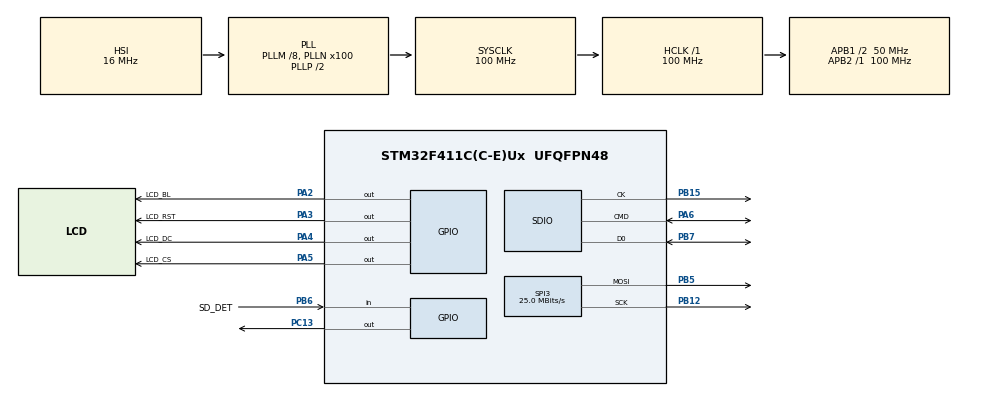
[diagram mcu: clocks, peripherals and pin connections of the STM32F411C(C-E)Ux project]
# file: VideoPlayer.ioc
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Dma.Request0=SPI3_TX
Dma.Request1=SDIO
Dma.SDIO.1.Direction=DMA_PERIPH_TO_MEMORY
Dma.SDIO.1.FIFOMode=DMA_FIFOMODE_ENABLE
Dma.SDIO.1.FIFOThreshold=DMA_FIFO_THRESHOLD_FULL
Dma.SDIO.1.Instance=DMA2_Stream3
Dma.SDIO.1.MemBurst=DMA_MBURST_INC4
Dma.SDIO.1.MemDataAlignment=DMA_MDATAALIGN_WORD
Dma.SDIO.1.MemInc=DMA_MINC_ENABLE
Dma.SDIO.1.Mode=DMA_PFCTRL
Dma.SDIO.1.PeriphBurst=DMA_PBURST_INC4
Dma.SDIO.1.PeriphDataAlignment=DMA_PDATAALIGN_WORD
Dma.SDIO.1.PeriphInc=DMA_PINC_DISABLE
Dma.SDIO.1.Priority=DMA_PRIORITY_LOW
Dma.SPI3_TX.0.Direction=DMA_MEMORY_TO_PERIPH
Dma.SPI3_TX.0.FIFOMode=DMA_FIFOMODE_DISABLE
Dma.SPI3_TX.0.Instance=DMA1_Stream5
Dma.SPI3_TX.0.MemDataAlignment=DMA_MDATAALIGN_BYTE
Dma.SPI3_TX.0.MemInc=DMA_MINC_ENABLE
Dma.SPI3_TX.0.Mode=DMA_NORMAL
Dma.SPI3_TX.0.PeriphDataAlignment=DMA_PDATAALIGN_BYTE
Dma.SPI3_TX.0.PeriphInc=DMA_PINC_DISABLE
Dma.SPI3_TX.0.Priority=DMA_PRIORITY_LOW
FATFS.BSP.number=1
FATFS._FS_REENTRANT=1
FATFS._USE_LFN=3
FATFS0.BSP.STBoard=false
FATFS0.BSP.api=Unknown
FATFS0.BSP.instance=PB6
FATFS0.BSP.ip=GPIO
FATFS0.BSP.mode=Input
FATFS0.BSP.name=Detect_SDIO
FATFS0.BSP.solution=PB6
FREERTOS.Queues01=writableBufferQueue,2,uint32_t,0,Static,writableBufferQueueBuffer,writableBufferQueueControlBlock;printableBufferQueue,2,uint32_t,0,Static,printableBufferQueueBuffer,printableBufferQueueControlBlock
FREERTOS.Tasks01=VideoPlayerTask,0,512,StartVideoPlayerTask,Default,&video_player_task_config,Dynamic,NULL,NULL;VideoReaderTask,1,1024,StartVideoReaderTask,Default,&video_reader_task_config,Dynamic,NULL,NULL
FREERTOS.configCHECK_FOR_STACK_OVERFLOW=2
FREERTOS.configGENERATE_RUN_TIME_STATS=1
FREERTOS.configTOTAL_HEAP_SIZE=24576
FREERTOS.configUSE_MALLOC_FAILED_HOOK=1
FREERTOS.configUSE_STATS_FORMATTING_FUNCTIONS=1
FREERTOS.configUSE_TRACE_FACILITY=1
Mcu.Family=STM32F4
Mcu.Name=STM32F411C(C-E)Ux
Mcu.Package=UFQFPN48
NVIC.DMA1_Stream5_IRQn=true\:5\:0\:false\:false\:true\:true\:false\:true\:true
NVIC.DMA2_Stream3_IRQn=true\:5\:0\:false\:false\:true\:true\:false\:true\:true
NVIC.PriorityGroup=NVIC_PRIORITYGROUP_4
NVIC.TIM5_IRQn=true\:15\:0\:false\:false\:true\:false\:false\:true\:true
NVIC.TimeBase=TIM5_IRQn
NVIC.TimeBaseIP=TIM5
PA2.GPIO_Label=LCD_BL
PA2.PinState=GPIO_PIN_SET
PA2.Signal=GPIO_Output
PA3.GPIO_Label=LCD_RST
PA3.Signal=GPIO_Output
PA4.GPIO_Label=LCD_DC
PA4.Signal=GPIO_Output
PA5.GPIO_Label=LCD_CS
PA5.PinState=GPIO_PIN_SET
PA5.Signal=GPIO_Output
PA6.Mode=SD_1_bit
PA6.Signal=SDIO_CMD
PB12.Mode=TX_Only_Simplex_Unidirect_Master
PB12.Signal=SPI3_SCK
PB15.Mode=SD_1_bit
PB15.Signal=SDIO_CK
PB5.Mode=TX_Only_Simplex_Unidirect_Master
PB5.Signal=SPI3_MOSI
PB6.GPIO_Label=SD_DET
PB6.Signal=GPIO_Input
PB7.Mode=SD_1_bit
PB7.Signal=SDIO_D0
PC13-ANTI_TAMP.Signal=GPIO_Output
ProjectManager.HeapSize=0x200
ProjectManager.StackSize=0x400
ProjectManager.TargetToolchain=CMake
RCC.48MHZClocksFreq_Value=40000000
RCC.AHBFreq_Value=100000000
RCC.APB1CLKDivider=RCC_HCLK_DIV2
RCC.APB1Freq_Value=50000000
RCC.APB1TimFreq_Value=100000000
RCC.APB2Freq_Value=100000000
RCC.APB2TimFreq_Value=100000000
RCC.CortexFreq_Value=100000000
RCC.HCLKFreq_Value=100000000
RCC.HSE_VALUE=25000000
RCC.HSI_VALUE=16000000
RCC.LSE_VALUE=32768
RCC.PLLM=8
RCC.PLLN=100
RCC.PLLQ=5
RCC.SYSCLKFreq_VALUE=100000000
RCC.SYSCLKSource=RCC_SYSCLKSOURCE_PLLCLK
RCC.VCOOutputFreq_Value=200000000
SPI3.CalculateBaudRate=25.0 MBits/s
SPI3.Direction=SPI_DIRECTION_2LINES
SPI3.Mode=SPI_MODE_MASTER
SPI3.VirtualType=VM_MASTER
VP_FATFS_VS_SDIO.Mode=SDIO
VP_FREERTOS_VS_CMSIS_V1.Mode=CMSIS_V1
VP_SYS_VS_tim5.Mode=TIM5
board=custom

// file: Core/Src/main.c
/* USER CODE BEGIN Header */
/**
 ******************************************************************************
 * @file           : main.c
 * @brief          : Main program body
 ******************************************************************************
 * @attention
 *
 * Copyright (c) 2026 STMicroelectronics.
 * All rights reserved.
 *
 * This software is licensed under terms that can be found in the LICENSE file
 * in the root directory of this software component.
 * If no LICENSE file comes with this software, it is provided AS-IS.
 *
 ******************************************************************************
 */
/* USER CODE END Header */
#include "main.h"
#include "cmsis_os.h"
#include "fatfs.h"

/* USER CODE BEGIN Includes */
#include "stm32f4xx_hal.h"

#include "task/video_player_task.h"
#include "task/video_reader_task.h"
#include "video/video_player.h"
#include "video/video_reader.h"

/* USER CODE END Includes */

SD_HandleTypeDef hsd;
DMA_HandleTypeDef hdma_sdio;

SPI_HandleTypeDef hspi3;
DMA_HandleTypeDef hdma_spi3_tx;

osThreadId VideoPlayerTaskHandle;
osThreadId VideoReaderTaskHandle;
osMessageQId writableBufferQueueHandle;
uint8_t writableBufferQueueBuffer[ 2 * sizeof( uint32_t ) ];
osStaticMessageQDef_t writableBufferQueueControlBlock;
osMessageQId printableBufferQueueHandle;
uint8_t printableBufferQueueBuffer[ 2 * sizeof( uint32_t ) ];
osStaticMessageQDef_t printableBufferQueueControlBlock;
/* USER CODE BEGIN PV */

video_reader_context_t video_reader_context;
video_player_context_t video_player_context;
video_shared_context_t video_shared_context;
video_reader_task_config_t video_reader_task_config;
video_player_task_config_t video_player_task_config;
static video_buffer_t video_buffer_0[VIDEO_CONTEXT_BUFFER_SIZE];
static video_buffer_t video_buffer_1[VIDEO_CONTEXT_BUFFER_SIZE];
static const TCHAR *video_file_path = "0:/output.rgb565";
/* USER CODE END PV */

void SystemClock_Config(void);
static void MX_GPIO_Init(void);
static void MX_DMA_Init(void);
static void MX_SPI3_Init(void);
static void MX_SDIO_SD_Init(void);
void StartVideoPlayerTask(void const * argument);
void StartVideoReaderTask(void const * argument);

/* USER CODE BEGIN PFP */
void vApplicationStackOverflowHook(xTaskHandle xTask, signed char *pcTaskName) {
    volatile int x = 1;
    while (x)
        ;
}
/* USER CODE END PFP */

int main(void)
{

  /* MCU Configuration--------------------------------------------------------*/

  /* Reset of all peripherals, Initializes the Flash interface and the Systick. */
  HAL_Init();

  /* Configure the system clock */
  SystemClock_Config();

  /* Initialize all configured peripherals */
  MX_GPIO_Init();
  MX_DMA_Init();
  MX_SPI3_Init();
  MX_FATFS_Init();
  MX_SDIO_SD_Init();

  /* Create the queue(s) */
  /* definition and creation of writableBufferQueue */
  osMessageQStaticDef(writableBufferQueue, 2, uint32_t, writableBufferQueueBuffer, &writableBufferQueueControlBlock);
  writableBufferQueueHandle = osMessageCreate(osMessageQ(writableBufferQueue), NULL);

  /* definition and creation of printableBufferQueue */
  osMessageQStaticDef(printableBufferQueue, 2, uint32_t, printableBufferQueueBuffer, &printableBufferQueueControlBlock);
  printableBufferQueueHandle = osMessageCreate(osMessageQ(printableBufferQueue), NULL);

  /* USER CODE BEGIN RTOS_QUEUES */
    /* add queues, ... */
    video_player_task_config.player_context = &video_player_context;
    video_player_task_config.shared_context = &video_shared_context;
    video_player_task_config.hspi = &hspi3;
    video_player_task_config.GPIO_Port_CS = LCD_CS_GPIO_Port;
    video_player_task_config.GPIO_Port_DC = LCD_DC_GPIO_Port;
    video_player_task_config.GPIO_Port_RST = LCD_RST_GPIO_Port;
    video_player_task_config.GPIO_Pin_CS = LCD_CS_Pin;
    video_player_task_config.GPIO_Pin_DC = LCD_DC_Pin;
    video_player_task_config.GPIO_Pin_RST = LCD_RST_Pin;
    video_player_task_config.screen_width = 240;
    video_player_task_config.screen_height = 240;
    video_player_task_config.dma_status = ST7789_DMA_ENABLE;
    video_player_task_config.target_frame_rate = 30;
    video_player_task_config.writableBufferQueueHandle =
        writableBufferQueueHandle;
    video_player_task_config.printableBufferQueueHandle =
        printableBufferQueueHandle;

    video_reader_task_config.reader_context = &video_reader_context;
    video_reader_task_config.shared_context = &video_shared_context;
    video_reader_task_config.sd_fatfs = &SDFatFS;
    video_reader_task_config.hsd = &hsd;
    video_reader_task_config.frame_bytes = 240U * 240U * sizeof(video_buffer_t);
    video_reader_task_config.sd_path = SDPath;
    video_reader_task_config.file_path = video_file_path;
    video_reader_task_config.writableBufferQueueHandle =
        writableBufferQueueHandle;
    video_reader_task_config.printableBufferQueueHandle =
        printableBufferQueueHandle;

    {
        video_buffer_t *initial_buffer = video_buffer_0;
        xQueueSend(writableBufferQueueHandle, &initial_buffer, 0);
        initial_buffer = video_buffer_1;
        xQueueSend(writableBufferQueueHandle, &initial_buffer, 0);
    }
  /* USER CODE END RTOS_QUEUES */

  /* Create the thread(s) */
  /* definition and creation of VideoPlayerTask */
  osThreadDef(VideoPlayerTask, StartVideoPlayerTask, osPriorityNormal, 0, 512);
  VideoPlayerTaskHandle = osThreadCreate(osThread(VideoPlayerTask), (void*) &video_player_task_config);

  /* definition and creation of VideoReaderTask */
  osThreadDef(VideoReaderTask, StartVideoReaderTask, osPriorityAboveNormal, 0, 1024);
  VideoReaderTaskHandle = osThreadCreate(osThread(VideoReaderTask), (void*) &video_reader_task_config);

  /* USER CODE BEGIN RTOS_THREADS */
    /* add threads, ... */
    video_player_task_config.VideoPlayerTaskHandle = VideoPlayerTaskHandle;

  /* USER CODE END RTOS_THREADS */

  /* Start scheduler */
  osKernelStart();

  /* We should never get here as control is now taken by the scheduler */

  /* Infinite loop */
    while (1) {

    }
}

void SystemClock_Config(void)
{
  RCC_OscInitTypeDef RCC_OscInitStruct = {0};
  RCC_ClkInitTypeDef RCC_ClkInitStruct = {0};

  /** Configure the main internal regulator output voltage
  */
  __HAL_RCC_PWR_CLK_ENABLE();
  __HAL_PWR_VOLTAGESCALING_CONFIG(PWR_REGULATOR_VOLTAGE_SCALE1);

  /** Initializes the RCC Oscillators according to the specified parameters
  * in the RCC_OscInitTypeDef structure.
  */
  RCC_OscInitStruct.OscillatorType = RCC_OSCILLATORTYPE_HSI;
  RCC_OscInitStruct.HSIState = RCC_HSI_ON;
  RCC_OscInitStruct.HSICalibrationValue = RCC_HSICALIBRATION_DEFAULT;
  RCC_OscInitStruct.PLL.PLLState = RCC_PLL_ON;
  RCC_OscInitStruct.PLL.PLLSource = RCC_PLLSOURCE_HSI;
  RCC_OscInitStruct.PLL.PLLM = 8;
  RCC_OscInitStruct.PLL.PLLN = 100;
  RCC_OscInitStruct.PLL.PLLP = RCC_PLLP_DIV2;
  RCC_OscInitStruct.PLL.PLLQ = 5;
  if (HAL_RCC_OscConfig(&RCC_OscInitStruct) != HAL_OK)
  {
    Error_Handler();
  }

  /** Initializes the CPU, AHB and APB buses clocks
  */
  RCC_ClkInitStruct.ClockType = RCC_CLOCKTYPE_HCLK|RCC_CLOCKTYPE_SYSCLK
                              |RCC_CLOCKTYPE_PCLK1|RCC_CLOCKTYPE_PCLK2;
  RCC_ClkInitStruct.SYSCLKSource = RCC_SYSCLKSOURCE_PLLCLK;
  RCC_ClkInitStruct.AHBCLKDivider = RCC_SYSCLK_DIV1;
  RCC_ClkInitStruct.APB1CLKDivider = RCC_HCLK_DIV2;
  RCC_ClkInitStruct.APB2CLKDivider = RCC_HCLK_DIV1;

  if (HAL_RCC_ClockConfig(&RCC_ClkInitStruct, FLASH_LATENCY_3) != HAL_OK)
  {
    Error_Handler();
  }
}

static void MX_SDIO_SD_Init(void)
{

  hsd.Instance = SDIO;
  hsd.Init.ClockEdge = SDIO_CLOCK_EDGE_RISING;
  hsd.Init.ClockBypass = SDIO_CLOCK_BYPASS_DISABLE;
  hsd.Init.ClockPowerSave = SDIO_CLOCK_POWER_SAVE_DISABLE;
  hsd.Init.BusWide = SDIO_BUS_WIDE_1B;
  hsd.Init.HardwareFlowControl = SDIO_HARDWARE_FLOW_CONTROL_DISABLE;
  hsd.Init.ClockDiv = 0;

}

static void MX_SPI3_Init(void)
{

  /* SPI3 parameter configuration*/
  hspi3.Instance = SPI3;
  hspi3.Init.Mode = SPI_MODE_MASTER;
  hspi3.Init.Direction = SPI_DIRECTION_2LINES;
  hspi3.Init.DataSize = SPI_DATASIZE_8BIT;
  hspi3.Init.CLKPolarity = SPI_POLARITY_LOW;
  hspi3.Init.CLKPhase = SPI_PHASE_1EDGE;
  hspi3.Init.NSS = SPI_NSS_SOFT;
  hspi3.Init.BaudRatePrescaler = SPI_BAUDRATEPRESCALER_2;
  hspi3.Init.FirstBit = SPI_FIRSTBIT_MSB;
  hspi3.Init.TIMode = SPI_TIMODE_DISABLE;
  hspi3.Init.CRCCalculation = SPI_CRCCALCULATION_DISABLE;
  hspi3.Init.CRCPolynomial = 10;
  if (HAL_SPI_Init(&hspi3) != HAL_OK)
  {
    Error_Handler();
  }

}

static void MX_DMA_Init(void)
{

  /* DMA controller clock enable */
  __HAL_RCC_DMA1_CLK_ENABLE();
  __HAL_RCC_DMA2_CLK_ENABLE();

  /* DMA interrupt init */
  /* DMA1_Stream5_IRQn interrupt configuration */
  HAL_NVIC_SetPriority(DMA1_Stream5_IRQn, 5, 0);
  HAL_NVIC_EnableIRQ(DMA1_Stream5_IRQn);
  /* DMA2_Stream3_IRQn interrupt configuration */
  HAL_NVIC_SetPriority(DMA2_Stream3_IRQn, 5, 0);
  HAL_NVIC_EnableIRQ(DMA2_Stream3_IRQn);

}

static void MX_GPIO_Init(void)
{
  GPIO_InitTypeDef GPIO_InitStruct = {0};

  /* GPIO Ports Clock Enable */
  __HAL_RCC_GPIOC_CLK_ENABLE();
  __HAL_RCC_GPIOA_CLK_ENABLE();
  __HAL_RCC_GPIOB_CLK_ENABLE();

  /*Configure GPIO pin Output Level */
  HAL_GPIO_WritePin(GPIOC, GPIO_PIN_13, GPIO_PIN_RESET);

  /*Configure GPIO pin Output Level */
  HAL_GPIO_WritePin(GPIOA, LCD_BL_Pin|LCD_CS_Pin, GPIO_PIN_SET);

  /*Configure GPIO pin Output Level */
  HAL_GPIO_WritePin(GPIOA, LCD_RST_Pin|LCD_DC_Pin, GPIO_PIN_RESET);

  /*Configure GPIO pin : PC13 */
  GPIO_InitStruct.Pin = GPIO_PIN_13;
  GPIO_InitStruct.Mode = GPIO_MODE_OUTPUT_PP;
  GPIO_InitStruct.Pull = GPIO_NOPULL;
  GPIO_InitStruct.Speed = GPIO_SPEED_FREQ_LOW;
  HAL_GPIO_Init(GPIOC, &GPIO_InitStruct);

  /*Configure GPIO pins : LCD_BL_Pin LCD_RST_Pin LCD_DC_Pin LCD_CS_Pin */
  GPIO_InitStruct.Pin = LCD_BL_Pin|LCD_RST_Pin|LCD_DC_Pin|LCD_CS_Pin;
  GPIO_InitStruct.Mode = GPIO_MODE_OUTPUT_PP;
  GPIO_InitStruct.Pull = GPIO_NOPULL;
  GPIO_InitStruct.Speed = GPIO_SPEED_FREQ_LOW;
  HAL_GPIO_Init(GPIOA, &GPIO_InitStruct);

  /*Configure GPIO pin : SD_DET_Pin */
  GPIO_InitStruct.Pin = SD_DET_Pin;
  GPIO_InitStruct.Mode = GPIO_MODE_INPUT;
  GPIO_InitStruct.Pull = GPIO_NOPULL;
  HAL_GPIO_Init(SD_DET_GPIO_Port, &GPIO_InitStruct);

}

void StartVideoPlayerTask(void const * argument)
{
  /* USER CODE BEGIN 5 */
    video_player_task_run(argument);
  /* USER CODE END 5 */
}

void StartVideoReaderTask(void const * argument)
{
  /* USER CODE BEGIN StartVideoReaderTask */
    video_reader_task_run(argument);
  /* USER CODE END StartVideoReaderTask */
}

void HAL_TIM_PeriodElapsedCallback(TIM_HandleTypeDef *htim)
{
  if (htim->Instance == TIM5)
  {
    HAL_IncTick();
  }
}

void Error_Handler(void)
{
  /* USER CODE BEGIN Error_Handler_Debug */
    /* User can add his own implementation to report the HAL error return
     * state
     */
    __disable_irq();
    while (1) {
    }
  /* USER CODE END Error_Handler_Debug */
}
#ifdef USE_FULL_ASSERT
/**
  * @brief  Reports the name of the source file and the source line number
  *         where the assert_param error has occurred.
  * @param  file: pointer to the source file name
  * @param  line: assert_param error line source number
  * @retval None
  */
void assert_failed(uint8_t *file, uint32_t line)
{
  /* USER CODE BEGIN 6 */
    /* User can add his own implementation to report the file name and line
       number, ex: printf("Wrong parameters value: file %s on line %d\r\n",
       file, line) */
  /* USER CODE END 6 */
}
#endif /* USE_FULL_ASSERT */

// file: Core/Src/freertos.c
/* USER CODE BEGIN Header */
/**
  ******************************************************************************
  * File Name          : freertos.c
  * Description        : Code for freertos applications
  ******************************************************************************
  * @attention
  *
  * Copyright (c) 2026 STMicroelectronics.
  * All rights reserved.
  *
  * This software is licensed under terms that can be found in the LICENSE file
  * in the root directory of this software component.
  * If no LICENSE file comes with this software, it is provided AS-IS.
  *
  ******************************************************************************
  */
/* USER CODE END Header */

#include "FreeRTOS.h"
#include "task.h"
#include "main.h"

/* GetIdleTaskMemory prototype (linked to static allocation support) */
void vApplicationGetIdleTaskMemory( StaticTask_t **ppxIdleTaskTCBBuffer, StackType_t **ppxIdleTaskStackBuffer, uint32_t *pulIdleTaskStackSize );

/* Hook prototypes */
void configureTimerForRunTimeStats(void);
unsigned long getRunTimeCounterValue(void);
void vApplicationStackOverflowHook(xTaskHandle xTask, signed char *pcTaskName);
void vApplicationMallocFailedHook(void);

/* USER CODE BEGIN 1 */
/* Functions needed when configGENERATE_RUN_TIME_STATS is on */
__weak void configureTimerForRunTimeStats(void)
{

}

__weak unsigned long getRunTimeCounterValue(void)
{
return 0;
}
/* USER CODE END 1 */

/* USER CODE BEGIN 4 */
__weak void vApplicationStackOverflowHook(xTaskHandle xTask, signed char *pcTaskName)
{
   /* Run time stack overflow checking is performed if
   configCHECK_FOR_STACK_OVERFLOW is defined to 1 or 2. This hook function is
   called if a stack overflow is detected. */
}
/* USER CODE END 4 */

/* USER CODE BEGIN 5 */
__weak void vApplicationMallocFailedHook(void)
{
   /* vApplicationMallocFailedHook() will only be called if
   configUSE_MALLOC_FAILED_HOOK is set to 1 in FreeRTOSConfig.h. It is a hook
   function that will get called if a call to pvPortMalloc() fails.
   pvPortMalloc() is called internally by the kernel whenever a task, queue,
   timer or semaphore is created. It is also called by various parts of the
   demo application. If heap_1.c or heap_2.c are used, then the size of the
   heap available to pvPortMalloc() is defined by configTOTAL_HEAP_SIZE in
   FreeRTOSConfig.h, and the xPortGetFreeHeapSize() API function can be used
   to query the size of free heap space that remains (although it does not
   provide information on how the remaining heap might be fragmented). */
}
/* USER CODE END 5 */

/* USER CODE BEGIN GET_IDLE_TASK_MEMORY */
static StaticTask_t xIdleTaskTCBBuffer;
static StackType_t xIdleStack[configMINIMAL_STACK_SIZE];

void vApplicationGetIdleTaskMemory( StaticTask_t **ppxIdleTaskTCBBuffer, StackType_t **ppxIdleTaskStackBuffer, uint32_t *pulIdleTaskStackSize )
{
  *ppxIdleTaskTCBBuffer = &xIdleTaskTCBBuffer;
  *ppxIdleTaskStackBuffer = &xIdleStack[0];
  *pulIdleTaskStackSize = configMINIMAL_STACK_SIZE;
  /* place for user code */
}
/* USER CODE END GET_IDLE_TASK_MEMORY */
